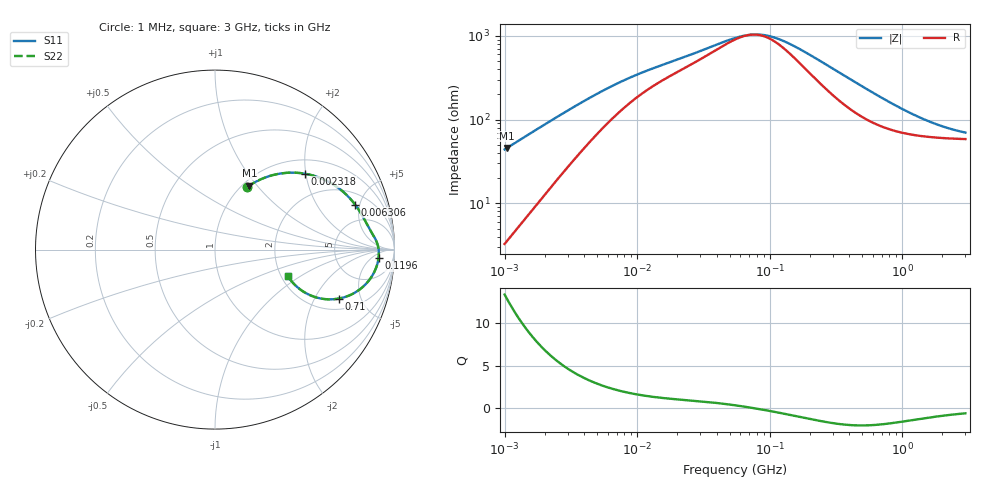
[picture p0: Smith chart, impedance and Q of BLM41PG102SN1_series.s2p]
! BLM41PG102SN1
# Hz S RI R 50
!Freq.(Hz) S11(Real) S11(Imag) S21(Real) S21(Imag) S12(Real) S12(Imag) S22(Real) S22(Imag)
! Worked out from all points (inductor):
!   401 points, 1 MHz to 3 GHz, reference 50 ohm
!   read as one part in series: L = 6.95 uH near 1.041 MHz
!   highest Q = 12.9 at 1.041 MHz (marker M1), where L = 6.98 uH
!   self-resonance near 72.74 MHz
!   S11 on the Smith chart (normalised r, x): 1 MHz: 1.07, +0.88; 2.318 MHz: 1.33, +1.98; 6.306 MHz: 2.96, +4.53; 119.6 MHz: 16, -9; 710 MHz: 2.64, -3.20; 3 GHz: 2.17, -0.77
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1000000  0.1797 0.3485  0.8203 -0.3485  0.8203 -0.3485  0.1797 0.3485
1040844  0.1913 0.3565  0.8087 -0.3565  0.8087 -0.3565  0.1913 0.3565
1584654  0.3418 0.4197  0.6582 -0.4197  0.6582 -0.4197  0.3418 0.4197
2317916  0.5018 0.4228  0.4982 -0.4228  0.4982 -0.4228  0.5018 0.4228
3823119  0.6785 0.35  0.3215 -0.35  0.3215 -0.35  0.6785 0.35
4861065  0.7364 0.3015  0.2636 -0.3015  0.2636 -0.3015  0.7364 0.3015
6305767  0.7809 0.2502  0.2191 -0.2502  0.2191 -0.2502  0.7809 0.2502
9600343  0.8251 0.1811  0.1749 -0.1811  0.1749 -0.1811  0.8251 0.1811
1.461624e7  0.8515 0.1315  0.1485 -0.1315  0.1485 -0.1315  0.8515 0.1315
5.477226e7  0.9068 0.0246  0.0932 -0.0246  0.0932 -0.0246  0.9068 0.0246
6.826239e7  0.9109 0.00564  0.0891 -0.00564  0.0891 -0.00564  0.9109 0.00564
8.173662e7  0.9126 -0.0106  0.0874 0.0106  0.0874 0.0106  0.9126 -0.0106
9.787053e7  0.9128 -0.0277  0.0872 0.0277  0.0872 0.0277  0.9128 -0.0277
1.195584e8  0.9111 -0.0479  0.0889 0.0479  0.0889 0.0479  0.9111 -0.0479
2.094008e8  0.892 -0.1147  0.108 0.1147  0.108 0.1147  0.892 -0.1147
3.894533e8  0.8258 -0.2059  0.1742 0.2059  0.1742 0.2059  0.8258 -0.2059
7.099691e8  0.6905 -0.2726  0.3095 0.2726  0.3095 0.2726  0.6905 -0.2726
8.005644e8  0.6571 -0.2767  0.3429 0.2767  0.3429 0.2767  0.6571 -0.2767
1.10276e9  0.5688 -0.2677  0.4312 0.2677  0.4312 0.2677  0.5688 -0.2677
1.581072e9  0.4864 -0.2303  0.5136 0.2303  0.5136 0.2303  0.4864 -0.2303
2.177892e9  0.4357 -0.1867  0.5643 0.1867  0.5643 0.1867  0.4357 -0.1867
3e9  0.404 -0.1444  0.596 0.1444  0.596 0.1444  0.404 -0.1444
